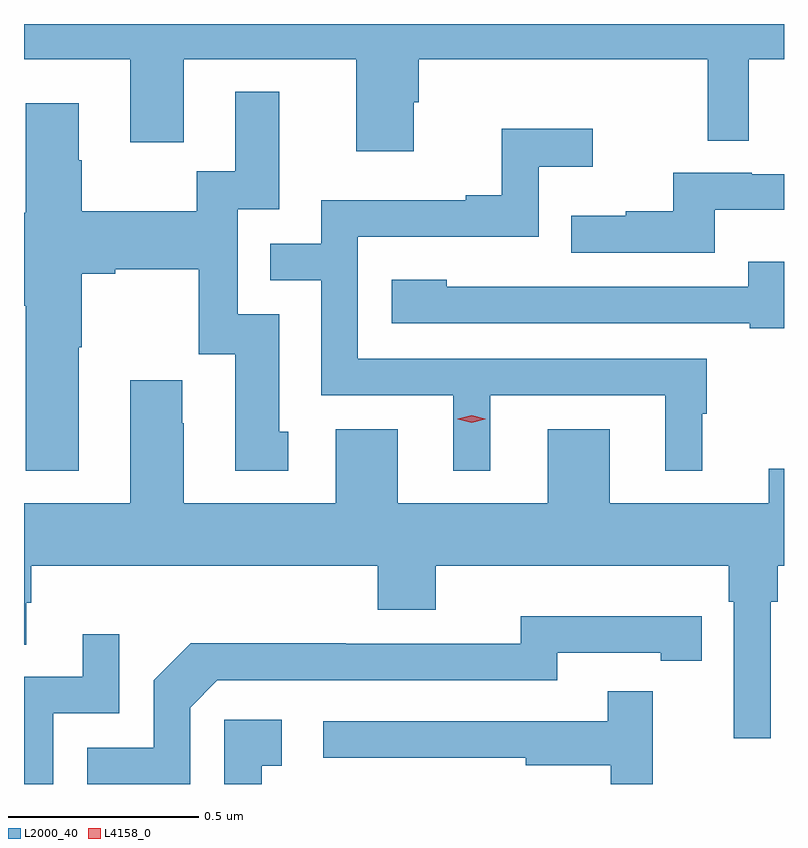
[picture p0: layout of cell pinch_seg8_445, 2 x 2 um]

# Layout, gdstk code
import gdstk
lib = gdstk.Library(unit=1e-6, precision=1e-09)
def P(c, l, *ps):  # polygons
    for p in ps: c.add(gdstk.Polygon(p, *l))
L2000_40 = (2000, 40)
L4158_0 = (4158, 0)

pinch_seg8_445 = lib.new_cell('pinch_seg8_445')
P(pinch_seg8_445, L2000_40, [(311.641,1131.039),(311.654,1131.039),(311.654,1131.152),(312.414,1131.152),(312.414,1130.938),(312.522,1130.938),(312.522,1131.152),(312.615,1131.152),(312.615,1131.245),(310.615,1131.245),(310.615,1131.152),(310.895,1131.152),(310.895,1130.934),(311.035,1130.934),(311.035,1131.152),(311.489,1131.152),(311.489,1130.91),(311.641,1130.91)],
  [(310.759,1130.395),(310.767,1130.395),(310.767,1130.588),(310.855,1130.588),(310.855,1130.6),(311.075,1130.6),(311.075,1130.376),(311.171,1130.376),(311.171,1130.07),(311.311,1130.07),(311.311,1130.172),(311.287,1130.172),(311.287,1130.481),(311.178,1130.481),(311.178,1130.757),(311.287,1130.757),(311.287,1131.067),(311.171,1131.067),(311.171,1130.858),(311.07,1130.858),(311.07,1130.752),(310.767,1130.752),(310.767,1130.886),(310.759,1130.886),(310.759,1131.037),(310.619,1131.037),(310.619,1130.748),(310.615,1130.748),(310.615,1130.504),(310.619,1130.504),(310.619,1130.069),(310.759,1130.069)],
  [(311.842,1130.268),(312.302,1130.268),(312.302,1130.069),(312.4,1130.069),(312.4,1130.22),(312.412,1130.22),(312.412,1130.364),(311.493,1130.364),(311.493,1130.685),(311.97,1130.685),(311.97,1130.87),(312.112,1130.87),(312.112,1130.969),(311.872,1130.969),(311.872,1130.794),(311.777,1130.794),(311.777,1130.781),(311.397,1130.781),(311.397,1130.667),(311.263,1130.667),(311.263,1130.571),(311.397,1130.571),(311.397,1130.268),(311.744,1130.268),(311.744,1130.069),(311.842,1130.069)],
  [(312.433,1130.756),(312.615,1130.756),(312.615,1130.85),(312.53,1130.85),(312.53,1130.853),(312.323,1130.853),(312.323,1130.752),(312.199,1130.752),(312.199,1130.74),(312.055,1130.74),(312.055,1130.643),(312.433,1130.643)],
  [(312.615,1130.62),(312.521,1130.62),(312.521,1130.553),(311.963,1130.553),(311.963,1130.554),(311.727,1130.554),(311.727,1130.572),(311.583,1130.572),(311.583,1130.457),(312.525,1130.457),(312.525,1130.445),(312.615,1130.445)],
  [(312.58,1129.724),(312.599,1129.724),(312.599,1129.82),(312.615,1129.82),(312.615,1130.075),(312.575,1130.075),(312.575,1129.984),(312.157,1129.984),(312.157,1130.179),(311.993,1130.179),(311.993,1129.984),(311.599,1129.984),(311.599,1130.179),(311.435,1130.179),(311.435,1129.984),(311.035,1129.984),(311.035,1130.195),(311.032,1130.195),(311.032,1130.308),(310.895,1130.308),(310.895,1129.984),(310.615,1129.984),(310.615,1129.612),(310.621,1129.612),(310.621,1129.722),(310.634,1129.722),(310.634,1129.82),(311.546,1129.82),(311.546,1129.703),(311.698,1129.703),(311.698,1129.82),(312.47,1129.82),(312.47,1129.724),(312.483,1129.724),(312.483,1129.365),(312.58,1129.365)],
  [(311.052,1129.446),(311.124,1129.518),(312.018,1129.518),(312.018,1129.59),(312.29,1129.59),(312.29,1129.57),(312.398,1129.57),(312.398,1129.686),(312.29,1129.686),(312.29,1129.687),(311.922,1129.687),(311.922,1129.614),(311.462,1129.614),(311.462,1129.616),(311.054,1129.616),(310.956,1129.518),(310.956,1129.341),(310.782,1129.341),(310.782,1129.245),(311.052,1129.245)],
  [(310.692,1129.431),(310.866,1129.431),(310.866,1129.639),(310.769,1129.639),(310.769,1129.527),(310.615,1129.527),(310.615,1129.245),(310.692,1129.245)],
  [(312.269,1129.489),(312.151,1129.489),(312.151,1129.41),(311.403,1129.41),(311.403,1129.314),(311.935,1129.314),(311.935,1129.294),(312.159,1129.294),(312.159,1129.245),(312.269,1129.245)],
  [(311.24,1129.293),(311.293,1129.293),(311.293,1129.414),(311.142,1129.414),(311.142,1129.245),(311.24,1129.245)])
P(pinch_seg8_445, L4158_0, [(311.793,1130.196),(311.757,1130.205),(311.757,1130.206),(311.757,1130.206),(311.793,1130.216),(311.829,1130.206),(311.829,1130.206),(311.829,1130.205)])

lib.write_gds('pinch_seg8_445.gds')
